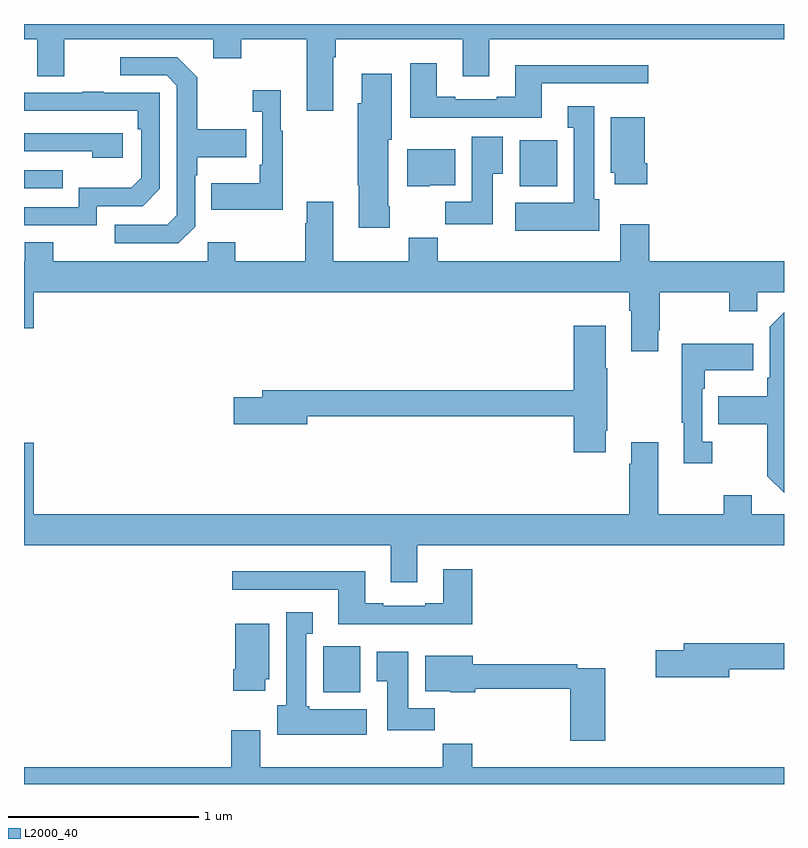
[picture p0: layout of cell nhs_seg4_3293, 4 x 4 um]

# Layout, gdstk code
import gdstk
lib = gdstk.Library(unit=1e-6, precision=1e-09)
def R(c, l, rs):  # rectangles x0, y0, x1, y1
    for r in rs: c.add(gdstk.rectangle(r[:2], r[2:], *l))
def P(c, l, *ps):  # polygons
    for p in ps: c.add(gdstk.Polygon(p, *l))
L2000_40 = (2000, 40)

nhs_seg4_3293 = lib.new_cell('nhs_seg4_3293')
R(nhs_seg4_3293, L2000_40, [(286.574,793.382,286.771,793.624), (285,796.035,285.203,796.131), (287.609,796.046,287.806,796.288)])
P(nhs_seg4_3293, L2000_40, [(286.627,796.724),(286.64,796.724),(286.64,796.82),(287.309,796.82),(287.309,796.626),(287.449,796.626),(287.449,796.82),(289,796.82),(289,796.9),(285,796.9),(285,796.82),(285.071,796.82),(285.071,796.626),(285.211,796.626),(285.211,796.82),(285.995,796.82),(285.995,796.721),(286.143,796.721),(286.143,796.82),(286.487,796.82),(286.487,796.443),(286.627,796.443)],
  [(285.9,795.834),(285.9,796.103),(285.913,796.103),(285.913,796.199),(286.169,796.199),(286.169,796.347),(285.913,796.347),(285.913,796.619),(285.807,796.725),(285.507,796.725),(285.507,796.629),(285.75,796.629),(285.804,796.575),(285.804,795.894),(285.753,795.843),(285.477,795.843),(285.477,795.747),(285.813,795.747)],
  [(287.261,796.407),(287.725,796.407),(287.725,796.587),(288.286,796.587),(288.286,796.684),(287.585,796.684),(287.585,796.516),(287.489,796.516),(287.489,796.503),(287.269,796.503),(287.269,796.516),(287.173,796.516),(287.173,796.693),(287.033,796.693),(287.033,796.406),(287.261,796.406)],
  [(286.926,795.94),(286.918,795.94),(286.918,796.29),(286.936,796.29),(286.936,796.639),(286.778,796.639),(286.778,796.482),(286.756,796.482),(286.756,796.051),(286.763,796.051),(286.763,795.828),(286.926,795.828)],
  [(286.363,796.339),(286.351,796.339),(286.351,796.552),(286.203,796.552),(286.203,796.439),(286.254,796.439),(286.254,796.159),(286.242,796.159),(286.242,796.063),(285.985,796.063),(285.985,795.923),(286.363,795.923)],
  [(285.384,795.942),(285.624,795.942),(285.714,796.032),(285.714,796.539),(285.419,796.539),(285.419,796.544),(285.307,796.544),(285.307,796.539),(285,796.539),(285,796.443),(285.598,796.443),(285.598,796.346),(285.618,796.346),(285.618,796.092),(285.565,796.039),(285.288,796.039),(285.288,795.936),(285,795.936),(285,795.84),(285.384,795.84)],
  [(288.028,795.978),(288.001,795.978),(288.001,796.468),(287.861,796.468),(287.861,796.355),(287.894,796.355),(287.894,795.958),(287.585,795.958),(287.585,795.812),(288.028,795.812)],
  [(288.281,796.168),(288.268,796.168),(288.268,796.408),(288.089,796.408),(288.089,796.116),(288.11,796.116),(288.11,796.056),(288.281,796.056)],
  [(285.52,796.326),(285,796.326),(285,796.23),(285.359,796.23),(285.359,796.196),(285.52,796.196)],
  [(287.467,796.112),(287.521,796.112),(287.521,796.306),(287.357,796.306),(287.357,795.964),(287.218,795.964),(287.218,795.846),(287.467,795.846)],
  [(287.136,796.052),(287.269,796.052),(287.269,796.24),(287.018,796.24),(287.018,796.046),(287.136,796.046)],
  [(288.337,795.289),(288.345,795.289),(288.345,795.488),(288.712,795.488),(288.712,795.389),(288.858,795.389),(288.858,795.488),(289,795.488),(289,795.652),(288.29,795.652),(288.29,795.847),(288.137,795.847),(288.137,795.652),(287.177,795.652),(287.177,795.776),(287.026,795.776),(287.026,795.652),(286.627,795.652),(286.627,795.964),(286.487,795.964),(286.487,795.851),(286.48,795.851),(286.48,795.652),(286.113,795.652),(286.113,795.751),(285.966,795.751),(285.966,795.652),(285.153,795.652),(285.153,795.751),(285.005,795.751),(285.005,795.652),(285,795.652),(285,795.3),(285.052,795.3),(285.052,795.488),(288.185,795.488),(288.185,795.392),(288.197,795.392),(288.197,795.177),(288.337,795.177)],
  [(289,795.382),(288.924,795.306),(288.924,795.037),(288.912,795.037),(288.912,794.941),(288.655,794.941),(288.655,794.794),(288.912,794.794),(288.912,794.521),(289,794.432)],
  [(288.061,794.758),(288.069,794.758),(288.069,795.089),(288.061,795.089),(288.061,795.313),(287.894,795.313),(287.894,794.972),(286.253,794.972),(286.253,794.936),(286.104,794.936),(286.104,794.794),(286.492,794.794),(286.492,794.836),(287.894,794.836),(287.894,794.646),(288.061,794.646)],
  [(288.622,794.702),(288.57,794.702),(288.57,794.981),(288.583,794.981),(288.583,795.077),(288.839,795.077),(288.839,795.217),(288.462,795.217),(288.462,794.801),(288.473,794.801),(288.473,794.589),(288.622,794.589)],
  [(287.071,794.156),(289,794.156),(289,794.32),(288.829,794.32),(288.829,794.419),(288.682,794.419),(288.682,794.32),(288.337,794.32),(288.337,794.698),(288.197,794.698),(288.197,794.585),(288.185,794.585),(288.185,794.32),(285.052,794.32),(285.052,794.695),(285,794.695),(285,794.156),(286.931,794.156),(286.931,793.962),(287.071,793.962)],
  [(287.36,794.029),(287.207,794.029),(287.207,793.852),(287.111,793.852),(287.111,793.839),(286.891,793.839),(286.891,793.852),(286.795,793.852),(286.795,794.02),(286.095,794.02),(286.095,793.923),(286.655,793.923),(286.655,793.742),(287.36,793.742)],
  [(286.804,793.294),(286.5,793.294),(286.5,793.308),(286.486,793.308),(286.486,793.691),(286.519,793.691),(286.519,793.804),(286.379,793.804),(286.379,793.314),(286.334,793.314),(286.334,793.16),(286.804,793.16)],
  [(286.27,793.452),(286.291,793.452),(286.291,793.744),(286.112,793.744),(286.112,793.504),(286.1,793.504),(286.1,793.392),(286.27,793.392)],
  [(288.712,793.504),(289,793.504),(289,793.64),(288.473,793.64),(288.473,793.604),(288.324,793.604),(288.324,793.462),(288.712,793.462)],
  [(287.162,793.3),(287.023,793.3),(287.023,793.597),(286.856,793.597),(286.856,793.441),(286.913,793.441),(286.913,793.182),(287.162,793.182)],
  [(288.059,793.509),(287.912,793.509),(287.912,793.529),(287.362,793.529),(287.362,793.576),(287.111,793.576),(287.111,793.388),(287.244,793.388),(287.244,793.382),(287.375,793.382),(287.375,793.401),(287.876,793.401),(287.876,793.128),(288.059,793.128)],
  [(285,792.9),(289,792.9),(289,792.988),(287.36,792.988),(287.36,793.112),(287.203,793.112),(287.203,792.988),(286.243,792.988),(286.243,793.183),(286.091,793.183),(286.091,792.988),(285,792.988)])

lib.write_gds('nhs_seg4_3293.gds')
